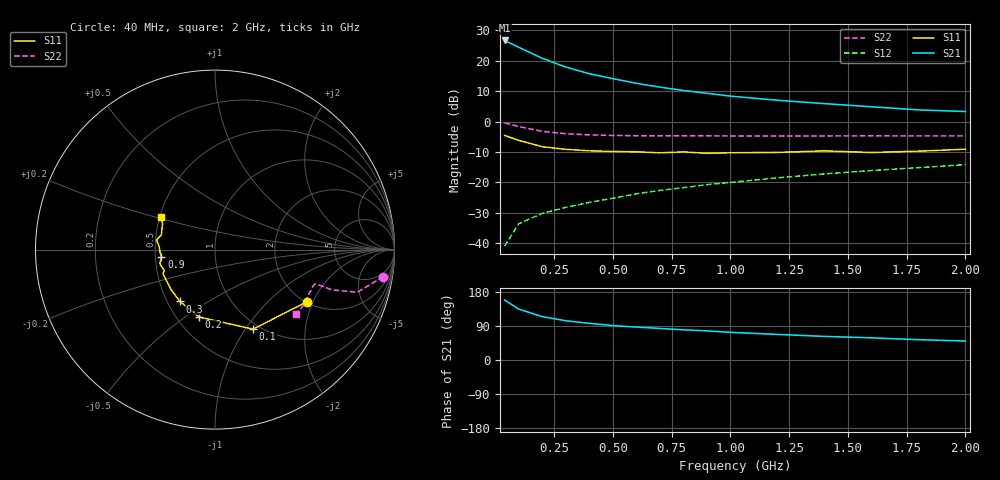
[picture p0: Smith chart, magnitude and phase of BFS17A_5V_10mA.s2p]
! Filename:  BFS17AC.S2P  Version:  2.0
! Philips part #: BFS17A  Date: May 1990
! Bias condition: Vce=5V, Ic=10mA
#  MHz  S  MA  R  50
! Freq  S11  S21  S12  S22  !GUM [dB]
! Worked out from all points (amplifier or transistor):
!   16 points, 40 MHz to 2 GHz, reference 50 ohm
!   highest |S21| = 26.6 dB at 40 MHz (marker M1)
!   |S21| within 3 dB of that: start of sweep to 121.1 MHz
!   unconditionally stable (mu >= 1): 436.7 MHz to 1.91 GHz
!   at 200 MHz: K = 0.70, MSG = 25.5 dB, |S12| = -30.2 dB
!   at 800 MHz: K = 1.08, MAG = 14.2 dB, |S12| = -21.7 dB
!   at 2 GHz: K = 0.97, MSG = 8.7 dB, |S12| = -14.2 dB
!   S11 on the Smith chart (normalised r, x): 40 MHz: 2.03, -1.81; 100 MHz: 0.93, -1.08; 200 MHz: 0.64, -0.57; 300 MHz: 0.58, -0.38; 900 MHz: 0.54, -0.05; 2 GHz: 0.51, +0.21
40  0.59 -29.5  21.38 158.1  0.009 76.3  0.95 -9.1
100  0.491 -64.5  16.52 134.4  0.021 64.3  0.828 -16.7
200  0.386 -103.1  10.91 114.5  0.031 62.6  0.689 -19.0
300  0.349 -124.1  7.833 103.6  0.039 64.4  0.63 -18.8
400  0.331 -137.6  6.08 96.8  0.047 67.1  0.603 -18.9
500  0.322 -146.7  5.055 90.8  0.055 68.8  0.59 -19.0
600  0.319 -155.5  4.244 86.9  0.065 70.7  0.585 -19.8
700  0.306 -157.4  3.666 83.3  0.074 72.5  0.582 -20.8
800  0.317 -165.6  3.232 79.7  0.082 73.6  0.582 -21.7
900  0.301 -172.1  2.909 76.9  0.092 74.5  0.582 -23.0
1000  0.307 -177.7  2.61 73.1  0.1 75.1  0.579 -23.9
1200  0.311 177.2  2.234 67.5  0.119 75.8  0.578 -26.5
1400  0.33 170.6  1.966 62.3  0.138 76.4  0.579 -29.8
1600  0.31 164.5  1.746 58.5  0.157 77.4  0.582 -32.6
1800  0.326 153.7  1.552 53.6  0.175 77.6  0.58 -35.4
2000  0.351 149.2  1.458 50.1  0.196 77.2  0.58 -38.5
